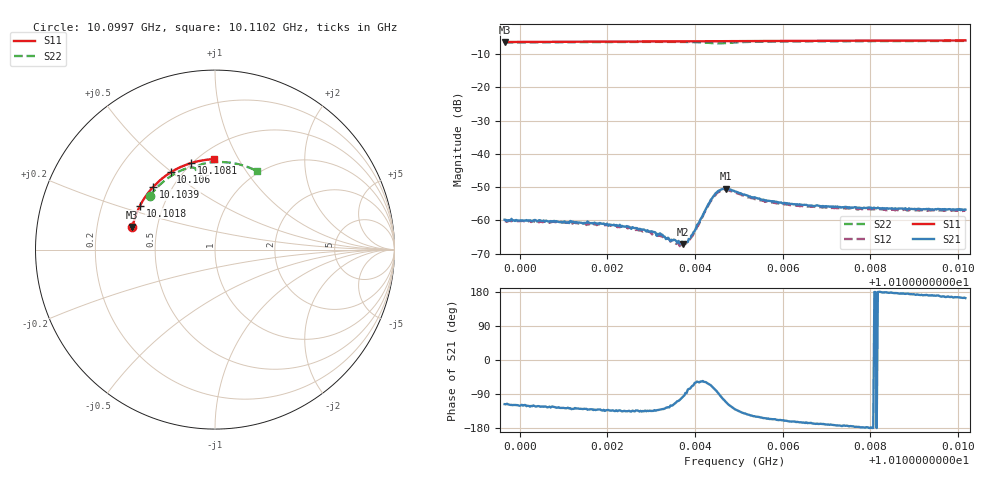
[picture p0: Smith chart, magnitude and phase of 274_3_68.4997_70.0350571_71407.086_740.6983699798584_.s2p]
#  HZ  S  RI  R  50.00
! Rohde & Schwarz Vector Network Analyzer
! Rohde-Schwarz,ZNB20-2Port,1311601062101988,3.16
! Created: UTC 3/20/2024, 5:00:53 PM
! freq[Hz]  re:S11  im:S11  re:S21  im:S21  re:S12  im:S12  re:S22  im:S22
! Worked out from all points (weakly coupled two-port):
!   401 points, 10.0997 GHz to 10.1102 GHz, reference 50 ohm
!   highest |S21| = -50.46 dB at 10.1047 GHz (marker M1); lowest = -67.0 dB at 10.1037 GHz (marker M2)
!   lowest |S11| = -6.4 dB at 10.0997 GHz (marker M3), VSWR 2.83, Z = 18 + j5.84 ohm
!   |S11| at or under -10 dB: nowhere
!   |S22| runs from -6.8 to -6.1 dB; largest |S21 - S12| = 0.0003
!   S11 on the Smith chart (normalised r, x): 10.0997 GHz: 0.36, +0.12; 10.1018 GHz: 0.37, +0.24; 10.1039 GHz: 0.39, +0.36; 10.106 GHz: 0.43, +0.50; 10.1081 GHz: 0.50, +0.64; 10.1102 GHz: 0.59, +0.80
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1.009966e10  -0.4605 0.1254  -0.000459 -0.000919  -0.000388 -0.000895  -0.3635 0.298
1.010142e10  -0.4265 0.2268  -0.000579 -0.000717  -0.000487 -0.000723  -0.2853 0.3805
1.010176e10  -0.4174 0.2457  -0.000595 -0.000679  -0.000509 -0.000683  -0.2678 0.3941
1.010252e10  -0.394 0.2856  -0.000557 -0.000544  -0.000502 -0.000583  -0.2262 0.4216
1.010305e10  -0.3757 0.3117  -0.000469 -0.000478  -0.0004 -0.000517  -0.1954 0.438
1.010318e10  -0.3709 0.318  -0.000409 -0.000461  -0.000361 -0.00047  -0.1872 0.4417
1.01036e10  -0.3546 0.3378  -0.00015 -0.000441  -0.000137 -0.000443  -0.1598 0.452
1.010373e10  -0.3495 0.3437  -4.86e-05 -0.000442  -9.25e-06 -0.00046  -0.1505 0.4544
1.010378e10  -0.3474 0.3462  2.62e-05 -0.000474  4.19e-05 -0.000441  -0.1467 0.4552
1.010386e10  -0.344 0.3498  0.000128 -0.000526  0.000131 -0.000489  -0.1409 0.4564
1.010396e10  -0.3397 0.3542  0.000265 -0.000614  0.000308 -0.000547  -0.133 0.4572
1.010425e10  -0.3274 0.3667  0.000782 -0.00131  0.000855 -0.00121  -0.1115 0.4536
1.010441e10  -0.3204 0.3734  0.000665 -0.00219  0.000838 -0.002  -0.1046 0.447
1.010454e10  -0.3145 0.3786  3.06e-05 -0.00281  0.000249 -0.00267  -0.1056 0.4433
1.01047e10  -0.3077 0.385  -0.00106 -0.00281  -0.000792 -0.00276  -0.1077 0.4481
1.010491e10  -0.2979 0.3932  -0.00175 -0.00208  -0.00149 -0.00215  -0.1011 0.4603
1.010541e10  -0.274 0.4118  -0.00187 -0.00109  -0.00169 -0.0012  -0.0687 0.4772
1.010596e10  -0.2464 0.4304  -0.00174 -0.000676  -0.00159 -0.000774  -0.0314 0.4852
1.010667e10  -0.2091 0.4516  -0.00163 -0.000367  -0.00153 -0.00051  0.0153 0.4885
1.010806e10  -0.1309 0.483  -0.00155 -2.22e-05  -0.00146 -0.000152  0.1049 0.4811
1.010843e10  -0.1096 0.4888  -0.00151 6.98e-05  -0.00144 -9.71e-05  0.1277 0.4762
1.011016e10  -0.006 0.5037  -0.00139 0.000415  -0.00137 0.000252  0.2314 0.4389
